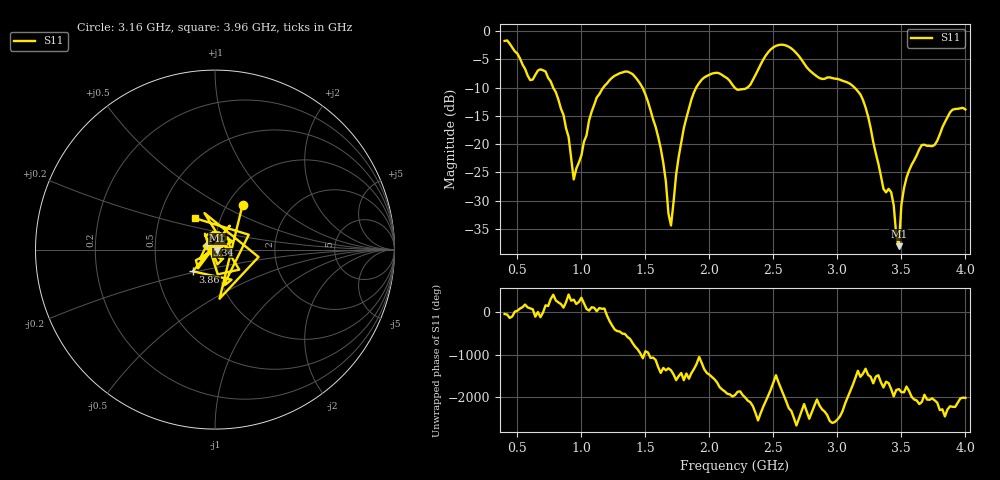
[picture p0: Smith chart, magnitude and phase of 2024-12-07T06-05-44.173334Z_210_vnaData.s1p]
!Created with skrf (http://scikit-rf.org).
# Hz S RI R 50.0
!freq ReS11 ImS11
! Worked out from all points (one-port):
!   181 points, 400 MHz to 4 GHz, reference 50 ohm
!   lowest |S11| = -38.1 dB at 3.48 GHz (marker M1), VSWR 1.03, Z = 51.2 - j0.333 ohm
!   |S11| at or under -10 dB: 779.7 MHz to 1.171 GHz (390.9 MHz wide, 40.1 % of centre); 1.478 GHz to 1.897 GHz (419 MHz wide, 24.8 % of centre); 3.135 GHz to end of sweep (the widest 3 of 4)
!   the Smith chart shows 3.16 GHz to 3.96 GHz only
!   S11 on the Smith chart (normalised r, x): 3.16 GHz: 1.17, +0.64; 3.34 GHz: 0.91, +0.05; 3.86 GHz: 0.76, -0.19; 3.96 GHz: 0.76, +0.28
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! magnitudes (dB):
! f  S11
! 400 MHz  -1.7
! 600 MHz  -8.7
! 720 MHz  -7.1
! 860 MHz  -14.8
! 940 MHz  -26.2
! 1.12 GHz  -11.7
! 1.3 GHz  -7.4
! 1.52 GHz  -12.5
! 1.62 GHz  -20.8
! 1.7 GHz  -34.4
! 1.76 GHz  -22.2
! 1.86 GHz  -12.0
! 1.94 GHz  -8.6
! 2.2 GHz  -10.1
! 2.32 GHz  -9.5
! 2.5 GHz  -2.8
! 2.66 GHz  -3.4
! 2.86 GHz  -8.3
! 3.1 GHz  -9.3
! 3.16 GHz  -10.6
! 3.34 GHz  -25.6
! 3.42 GHz  -28.5
! 3.48 GHz  -38.1
! 3.5 GHz  -30.8
! 3.56 GHz  -24.7
! 3.86 GHz  -15.2
! 3.96 GHz  -13.7
! 4 GHz  -13.9
